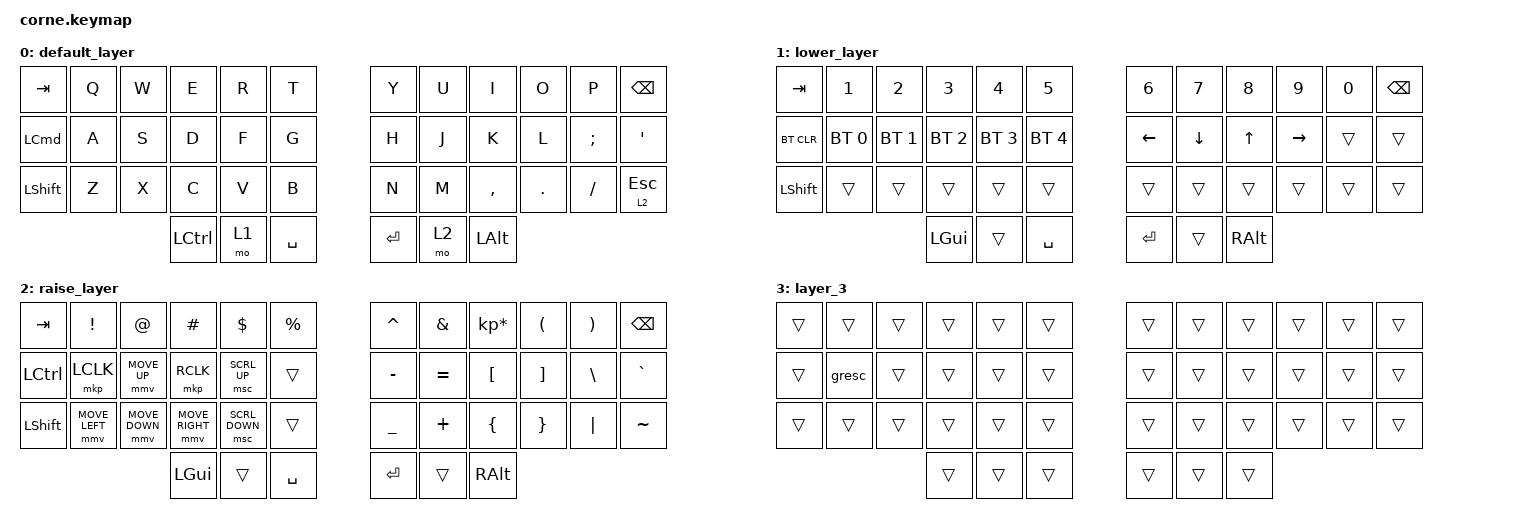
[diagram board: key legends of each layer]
/*
 * Copyright (c) 2020 The ZMK Contributors
 *
 * SPDX-License-Identifier: MIT
 */

#include <behaviors.dtsi>
#include <dt-bindings/zmk/bt.h>
#include <dt-bindings/zmk/keys.h>
#define ZMK_POINTING_DEFAULT_MOVE_VAL 1800  // default: 600
#define ZMK_POINTING_DEFAULT_SCRL_VAL 20    // default: 10
#include <dt-bindings/zmk/pointing.h>

&mmv {
};

/ {
    behaviors {
        new_behavior: new_behavior {
            compatible = "zmk,behavior-hold-tap";
            label = "NEW_BEHAVIOR";
            bindings = <&kp>, <&lt>;

            #binding-cells = <2>;
            hold-trigger-key-positions = <35>;
            tapping-term-ms = <200>;
        };
    };

    keymap {
        compatible = "zmk,keymap";

        default_layer {
            // -----------------------------------------------------------------------------------------
            // |  TAB |  Q  |  W  |  E  |  R  |  T  |   |  Y  |  U   |  I  |  O  |  P  | BKSP |
            // | CTRL |  A  |  S  |  D  |  F  |  G  |   |  H  |  J   |  K  |  L  |  ;  |  '   |
            // | SHFT |  Z  |  X  |  C  |  V  |  B  |   |  N  |  M   |  ,  |  .  |  /  | ESC  |
            //                    | GUI | LWR | SPC |   | ENT | RSE  | ALT |

            bindings = <
&kp TAB           &kp Q  &kp W  &kp E             &kp R  &kp T        &kp Y    &kp U  &kp I         &kp O    &kp P     &kp BSPC
&kp LEFT_COMMAND  &kp A  &kp S  &kp D             &kp F  &kp G        &kp H    &kp J  &kp K         &kp L    &kp SEMI  &kp SQT
&kp LSHFT         &kp Z  &kp X  &kp C             &kp V  &kp B        &kp N    &kp M  &kp COMMA     &kp DOT  &kp FSLH  &lt 2 ESCAPE
                                &kp LEFT_CONTROL  &mo 1  &kp SPACE    &kp RET  &mo 2  &kp LEFT_ALT
            >;
        };

        lower_layer {
            // -----------------------------------------------------------------------------------------
            // |  TAB |  1  |  2  |  3  |  4  |  5  |   |  6  |  7  |  8  |  9  |  0  | BKSP |
            // | BTCLR| BT1 | BT2 | BT3 | BT4 | BT5 |   | LFT | DWN |  UP | RGT |     |      |
            // | SHFT |     |     |     |     |     |   |     |     |     |     |     |      |
            //                    | GUI |     | SPC |   | ENT |     | ALT |

            bindings = <
&kp TAB     &kp N1        &kp N2        &kp N3        &kp N4        &kp N5          &kp N6    &kp N7    &kp N8    &kp N9     &kp N0  &kp BSPC
&bt BT_CLR  &bt BT_SEL 0  &bt BT_SEL 1  &bt BT_SEL 2  &bt BT_SEL 3  &bt BT_SEL 4    &kp LEFT  &kp DOWN  &kp UP    &kp RIGHT  &trans  &trans
&kp LSHFT   &trans        &trans        &trans        &trans        &trans          &trans    &trans    &trans    &trans     &trans  &trans
                                        &kp LGUI      &trans        &kp SPACE       &kp RET   &trans    &kp RALT
            >;
        };

        raise_layer {
            // -----------------------------------------------------------------------------------------
            // |  TAB |  !  |  @  |  #  |  $  |  %  |   |  ^  |  &  |  *  |  (  |  )  | BKSP |
            // | CTRL |    |     |     |     |     |   |  -  |  =  |  [  |  ]  |  \  |  `   |
            // | SHFT |     |     |     |     |     |   |  _  |  +  |  {  |  }  | "|" |  ~   |
            //                    | GUI |     | SPC |   | ENT |     | ALT |

            bindings = <
&kp TAB    &kp EXCL  &kp AT  &kp HASH  &kp DLLR  &kp PRCNT    &kp CARET  &kp AMPS   &kp KP_MULTIPLY  &kp LPAR  &kp RPAR  &kp BSPC
&kp LCTRL  &mkp LCLK    &mmv MOVE_UP  &mkp RCLK    &msc SCRL_UP    &trans       &kp MINUS  &kp EQUAL  &kp LBKT         &kp RBKT  &kp BSLH  &kp GRAVE
&kp LSHFT  &mmv MOVE_LEFT    &mmv MOVE_DOWN  &mmv MOVE_RIGHT    &msc SCRL_DOWN   &trans       &kp UNDER  &kp PLUS   &kp LBRC         &kp RBRC  &kp PIPE  &kp TILDE
                             &kp LGUI  &trans    &kp SPACE    &kp RET    &trans     &kp RALT
            >;
        };

        layer_3 {
            bindings = <
&trans  &trans  &trans  &trans  &trans  &trans    &trans  &trans  &trans  &trans  &trans  &trans
&trans  &gresc  &trans  &trans  &trans  &trans    &trans  &trans  &trans  &trans  &trans  &trans
&trans  &trans  &trans  &trans  &trans  &trans    &trans  &trans  &trans  &trans  &trans  &trans
                        &trans  &trans  &trans    &trans  &trans  &trans
            >;
        };
    };
};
